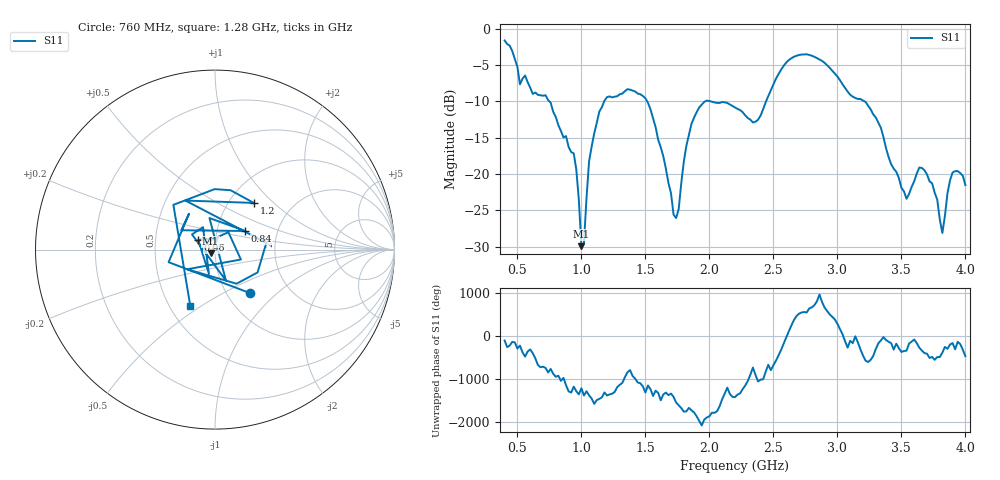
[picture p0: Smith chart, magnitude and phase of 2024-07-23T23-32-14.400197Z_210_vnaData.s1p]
!Created with skrf (http://scikit-rf.org).
# Hz S RI R 50.0
!freq ReS11 ImS11
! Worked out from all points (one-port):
!   181 points, 400 MHz to 4 GHz, reference 50 ohm
!   lowest |S11| = -29.9 dB at 1 GHz (marker M1), VSWR 1.07, Z = 47.5 - j1.9 ohm
!   |S11| at or under -10 dB: 1.514 GHz to 1.968 GHz (454.2 MHz wide, 26.1 % of centre); 2.01 GHz to 2.443 GHz (432.4 MHz wide, 19.4 % of centre); 3.213 GHz to end of sweep (the widest 3 of 4)
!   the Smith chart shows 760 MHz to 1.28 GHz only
!   S11 on the Smith chart (normalised r, x): 760 MHz: 1.28, -0.68; 840 MHz: 1.37, +0.30; 960 MHz: 0.83, +0.09; 1.2 GHz: 1.30, +0.76; 1.28 GHz: 0.63, -0.45
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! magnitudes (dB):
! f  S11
! 400 MHz  -1.6
! 520 MHz  -7.7
! 760 MHz  -10.2
! 840 MHz  -14.1
! 860 MHz  -15.0
! 960 MHz  -19.4
! 1 GHz  -29.9
! 1.02 GHz  -29.5
! 1.06 GHz  -18.2
! 1.2 GHz  -9.4
! 1.28 GHz  -9.3
! 1.3 GHz  -9.0
! 1.52 GHz  -10.2
! 1.72 GHz  -25.6
! 1.76 GHz  -24.9
! 1.82 GHz  -16.1
! 1.92 GHz  -10.8
! 2.2 GHz  -10.8
! 2.38 GHz  -12.5
! 2.66 GHz  -3.9
! 3.1 GHz  -9.1
! 3.3 GHz  -12.2
! 3.56 GHz  -22.7
! 3.68 GHz  -19.5
! 3.78 GHz  -23.5
! 3.82 GHz  -28.1
! 3.9 GHz  -19.8
! 4 GHz  -21.5
